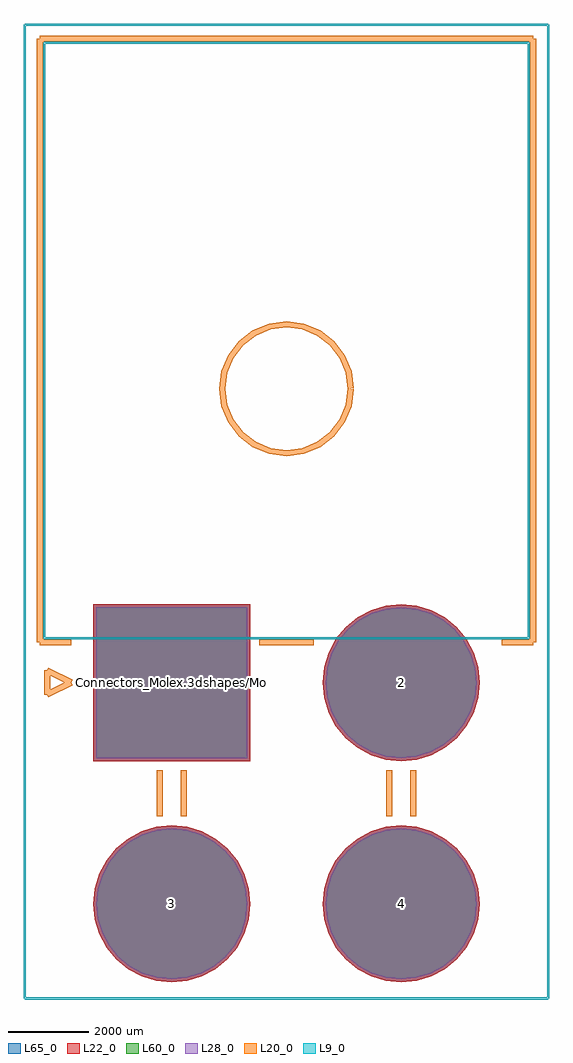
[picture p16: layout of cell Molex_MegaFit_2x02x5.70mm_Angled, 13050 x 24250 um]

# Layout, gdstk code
import gdstk
lib = gdstk.Library(unit=1e-6, precision=1e-09)
def R(c, l, rs):  # rectangles x0, y0, x1, y1
    for r in rs: c.add(gdstk.rectangle(r[:2], r[2:], *l))
def P(c, l, *ps):  # polygons
    for p in ps: c.add(gdstk.Polygon(p, *l))
L9_0 = (9, 0)
L20_0 = (20, 0)
L22_0 = (22, 0)
L28_0 = (28, 0)
L60_0 = (60, 0)
L65_0 = (65, 0)

molex_megafit_2x02x5_70m = lib.new_cell('Molex_MegaFit_2x02x5.70mm_Angled')
R(molex_megafit_2x02x5_70m, L22_0, [(-1950,-1950,1950,1950)])
P(molex_megafit_2x02x5_70m, L22_0, [(7650,-5500),(7612.531,-5119.574),(7501.565,-4753.767),(7321.366,-4416.638),(7078.858,-4121.142),(6783.362,-3878.634),(6446.233,-3698.435),(6080.426,-3587.469),(5700,-3550),(5319.574,-3587.469),(4953.767,-3698.435),(4616.638,-3878.634),(4321.142,-4121.142),(4078.634,-4416.638),(3898.435,-4753.767),(3787.469,-5119.574),(3750,-5500),(3787.469,-5880.426),(3898.435,-6246.233),(4078.634,-6583.362),(4321.142,-6878.858),(4616.638,-7121.366),(4953.767,-7301.565),(5319.574,-7412.531),(5700,-7450),(6080.426,-7412.531),(6446.233,-7301.565),(6783.362,-7121.366),(7078.858,-6878.858),(7321.366,-6583.362),(7501.565,-6246.233),(7612.531,-5880.426)],
  [(1950,-5500),(1912.531,-5119.574),(1801.565,-4753.767),(1621.366,-4416.638),(1378.858,-4121.142),(1083.362,-3878.634),(746.233,-3698.435),(380.426,-3587.469),(0,-3550),(-380.426,-3587.469),(-746.233,-3698.435),(-1083.362,-3878.634),(-1378.858,-4121.142),(-1621.366,-4416.638),(-1801.565,-4753.767),(-1912.531,-5119.574),(-1950,-5500),(-1912.531,-5880.426),(-1801.565,-6246.233),(-1621.366,-6583.362),(-1378.858,-6878.858),(-1083.362,-7121.366),(-746.233,-7301.565),(-380.426,-7412.531),(0,-7450),(380.426,-7412.531),(746.233,-7301.565),(1083.362,-7121.366),(1378.858,-6878.858),(1621.366,-6583.362),(1801.565,-6246.233),(1912.531,-5880.426)],
  [(7650,0),(7612.531,380.426),(7501.565,746.233),(7321.366,1083.362),(7078.858,1378.858),(6783.362,1621.366),(6446.233,1801.565),(6080.426,1912.531),(5700,1950),(5319.574,1912.531),(4953.767,1801.565),(4616.638,1621.366),(4321.142,1378.858),(4078.634,1083.362),(3898.435,746.233),(3787.469,380.426),(3750,0),(3787.469,-380.426),(3898.435,-746.233),(4078.634,-1083.362),(4321.142,-1378.858),(4616.638,-1621.366),(4953.767,-1801.565),(5319.574,-1912.531),(5700,-1950),(6080.426,-1912.531),(6446.233,-1801.565),(6783.362,-1621.366),(7078.858,-1378.858),(7321.366,-1083.362),(7501.565,-746.233),(7612.531,-380.426)])
R(molex_megafit_2x02x5_70m, L28_0, [(-1875,-1875,1875,1875)])
P(molex_megafit_2x02x5_70m, L28_0, [(7575,-5500),(7538.972,-5134.206),(7432.274,-4782.469),(7259.006,-4458.306),(7025.825,-4174.175),(6741.694,-3940.994),(6417.531,-3767.726),(6065.794,-3661.028),(5700,-3625),(5334.206,-3661.028),(4982.469,-3767.726),(4658.306,-3940.994),(4374.175,-4174.175),(4140.994,-4458.306),(3967.726,-4782.469),(3861.028,-5134.206),(3825,-5500),(3861.028,-5865.794),(3967.726,-6217.531),(4140.994,-6541.694),(4374.175,-6825.825),(4658.306,-7059.006),(4982.469,-7232.274),(5334.206,-7338.972),(5700,-7375),(6065.794,-7338.972),(6417.531,-7232.274),(6741.694,-7059.006),(7025.825,-6825.825),(7259.006,-6541.694),(7432.274,-6217.531),(7538.972,-5865.794)],
  [(1875,-5500),(1838.972,-5134.206),(1732.274,-4782.469),(1559.006,-4458.306),(1325.825,-4174.175),(1041.694,-3940.994),(717.531,-3767.726),(365.794,-3661.028),(0,-3625),(-365.794,-3661.028),(-717.531,-3767.726),(-1041.694,-3940.994),(-1325.825,-4174.175),(-1559.006,-4458.306),(-1732.274,-4782.469),(-1838.972,-5134.206),(-1875,-5500),(-1838.972,-5865.794),(-1732.274,-6217.531),(-1559.006,-6541.694),(-1325.825,-6825.825),(-1041.694,-7059.006),(-717.531,-7232.274),(-365.794,-7338.972),(0,-7375),(365.794,-7338.972),(717.531,-7232.274),(1041.694,-7059.006),(1325.825,-6825.825),(1559.006,-6541.694),(1732.274,-6217.531),(1838.972,-5865.794)],
  [(7575,0),(7538.972,365.794),(7432.274,717.531),(7259.006,1041.694),(7025.825,1325.825),(6741.694,1559.006),(6417.531,1732.274),(6065.794,1838.972),(5700,1875),(5334.206,1838.972),(4982.469,1732.274),(4658.306,1559.006),(4374.175,1325.825),(4140.994,1041.694),(3967.726,717.531),(3861.028,365.794),(3825,0),(3861.028,-365.794),(3967.726,-717.531),(4140.994,-1041.694),(4374.175,-1325.825),(4658.306,-1559.006),(4982.469,-1732.274),(5334.206,-1838.972),(5700,-1875),(6065.794,-1838.972),(6417.531,-1732.274),(6741.694,-1559.006),(7025.825,-1325.825),(7259.006,-1041.694),(7432.274,-717.531),(7538.972,-365.794)])
R(molex_megafit_2x02x5_70m, L60_0, [(-1875,-1875,1875,1875)])
P(molex_megafit_2x02x5_70m, L60_0, [(7575,-5500),(7538.972,-5134.206),(7432.274,-4782.469),(7259.006,-4458.306),(7025.825,-4174.175),(6741.694,-3940.994),(6417.531,-3767.726),(6065.794,-3661.028),(5700,-3625),(5334.206,-3661.028),(4982.469,-3767.726),(4658.306,-3940.994),(4374.175,-4174.175),(4140.994,-4458.306),(3967.726,-4782.469),(3861.028,-5134.206),(3825,-5500),(3861.028,-5865.794),(3967.726,-6217.531),(4140.994,-6541.694),(4374.175,-6825.825),(4658.306,-7059.006),(4982.469,-7232.274),(5334.206,-7338.972),(5700,-7375),(6065.794,-7338.972),(6417.531,-7232.274),(6741.694,-7059.006),(7025.825,-6825.825),(7259.006,-6541.694),(7432.274,-6217.531),(7538.972,-5865.794)],
  [(1875,-5500),(1838.972,-5134.206),(1732.274,-4782.469),(1559.006,-4458.306),(1325.825,-4174.175),(1041.694,-3940.994),(717.531,-3767.726),(365.794,-3661.028),(0,-3625),(-365.794,-3661.028),(-717.531,-3767.726),(-1041.694,-3940.994),(-1325.825,-4174.175),(-1559.006,-4458.306),(-1732.274,-4782.469),(-1838.972,-5134.206),(-1875,-5500),(-1838.972,-5865.794),(-1732.274,-6217.531),(-1559.006,-6541.694),(-1325.825,-6825.825),(-1041.694,-7059.006),(-717.531,-7232.274),(-365.794,-7338.972),(0,-7375),(365.794,-7338.972),(717.531,-7232.274),(1041.694,-7059.006),(1325.825,-6825.825),(1559.006,-6541.694),(1732.274,-6217.531),(1838.972,-5865.794)],
  [(7575,0),(7538.972,365.794),(7432.274,717.531),(7259.006,1041.694),(7025.825,1325.825),(6741.694,1559.006),(6417.531,1732.274),(6065.794,1838.972),(5700,1875),(5334.206,1838.972),(4982.469,1732.274),(4658.306,1559.006),(4374.175,1325.825),(4140.994,1041.694),(3967.726,717.531),(3861.028,365.794),(3825,0),(3861.028,-365.794),(3967.726,-717.531),(4140.994,-1041.694),(4374.175,-1325.825),(4658.306,-1559.006),(4982.469,-1732.274),(5334.206,-1838.972),(5700,-1875),(6065.794,-1838.972),(6417.531,-1732.274),(6741.694,-1559.006),(7025.825,-1325.825),(7259.006,-1041.694),(7432.274,-717.531),(7538.972,-365.794)])
R(molex_megafit_2x02x5_70m, L65_0, [(-1950,-1950,1950,1950)])
P(molex_megafit_2x02x5_70m, L65_0, [(7650,-5500),(7612.531,-5119.574),(7501.565,-4753.767),(7321.366,-4416.638),(7078.858,-4121.142),(6783.362,-3878.634),(6446.233,-3698.435),(6080.426,-3587.469),(5700,-3550),(5319.574,-3587.469),(4953.767,-3698.435),(4616.638,-3878.634),(4321.142,-4121.142),(4078.634,-4416.638),(3898.435,-4753.767),(3787.469,-5119.574),(3750,-5500),(3787.469,-5880.426),(3898.435,-6246.233),(4078.634,-6583.362),(4321.142,-6878.858),(4616.638,-7121.366),(4953.767,-7301.565),(5319.574,-7412.531),(5700,-7450),(6080.426,-7412.531),(6446.233,-7301.565),(6783.362,-7121.366),(7078.858,-6878.858),(7321.366,-6583.362),(7501.565,-6246.233),(7612.531,-5880.426)],
  [(1950,-5500),(1912.531,-5119.574),(1801.565,-4753.767),(1621.366,-4416.638),(1378.858,-4121.142),(1083.362,-3878.634),(746.233,-3698.435),(380.426,-3587.469),(0,-3550),(-380.426,-3587.469),(-746.233,-3698.435),(-1083.362,-3878.634),(-1378.858,-4121.142),(-1621.366,-4416.638),(-1801.565,-4753.767),(-1912.531,-5119.574),(-1950,-5500),(-1912.531,-5880.426),(-1801.565,-6246.233),(-1621.366,-6583.362),(-1378.858,-6878.858),(-1083.362,-7121.366),(-746.233,-7301.565),(-380.426,-7412.531),(0,-7450),(380.426,-7412.531),(746.233,-7301.565),(1083.362,-7121.366),(1378.858,-6878.858),(1621.366,-6583.362),(1801.565,-6246.233),(1912.531,-5880.426)],
  [(7650,0),(7612.531,380.426),(7501.565,746.233),(7321.366,1083.362),(7078.858,1378.858),(6783.362,1621.366),(6446.233,1801.565),(6080.426,1912.531),(5700,1950),(5319.574,1912.531),(4953.767,1801.565),(4616.638,1621.366),(4321.142,1378.858),(4078.634,1083.362),(3898.435,746.233),(3787.469,380.426),(3750,0),(3787.469,-380.426),(3898.435,-746.233),(4078.634,-1083.362),(4321.142,-1378.858),(4616.638,-1621.366),(4953.767,-1801.565),(5319.574,-1912.531),(5700,-1950),(6080.426,-1912.531),(6446.233,-1801.565),(6783.362,-1621.366),(7078.858,-1378.858),(7321.366,-1083.362),(7501.565,-746.233),(7612.531,-380.426)])
molex_megafit_2x02x5_70m.add(gdstk.FlexPath([(9350,16350),(-3650,16350)], 50, ends="flush", simple_path=True, layer=9, datatype=0))  # L9_0
molex_megafit_2x02x5_70m.add(gdstk.FlexPath([(9350,-7850),(9350,16350)], 50, ends="flush", simple_path=True, layer=9, datatype=0))  # L9_0
molex_megafit_2x02x5_70m.add(gdstk.FlexPath([(-3650,-7850),(9350,-7850)], 50, ends="flush", simple_path=True, layer=9, datatype=0))  # L9_0
molex_megafit_2x02x5_70m.add(gdstk.FlexPath([(-3650,16350),(-3650,-7850)], 50, ends="flush", simple_path=True, layer=9, datatype=0))  # L9_0
molex_megafit_2x02x5_70m.add(gdstk.FlexPath([(-3100,300),(-2500,0)], 149.998, ends="flush", simple_path=True, layer=20, datatype=0))  # L20_0
molex_megafit_2x02x5_70m.add(gdstk.FlexPath([(-3100,-300),(-3100,300)], 149.998, ends="flush", simple_path=True, layer=20, datatype=0))  # L20_0
molex_megafit_2x02x5_70m.add(gdstk.FlexPath([(-2500,0),(-3100,-300)], 149.998, ends="flush", simple_path=True, layer=20, datatype=0))  # L20_0
molex_megafit_2x02x5_70m.add(gdstk.FlexPath([(6000,-2175),(6000,-3325)], 149.998, ends="flush", simple_path=True, layer=20, datatype=0))  # L20_0
molex_megafit_2x02x5_70m.add(gdstk.FlexPath([(5400,-2175),(5400,-3325)], 149.998, ends="flush", simple_path=True, layer=20, datatype=0))  # L20_0
molex_megafit_2x02x5_70m.add(gdstk.FlexPath([(300,-2175),(300,-3325)], 149.998, ends="flush", simple_path=True, layer=20, datatype=0))  # L20_0
molex_megafit_2x02x5_70m.add(gdstk.FlexPath([(-300,-2175),(-300,-3325)], 149.998, ends="flush", simple_path=True, layer=20, datatype=0))  # L20_0
molex_megafit_2x02x5_70m.add(gdstk.FlexPath([(2175,1000),(3525,1000)], 149.998, ends="flush", simple_path=True, layer=20, datatype=0))  # L20_0
molex_megafit_2x02x5_70m.add(gdstk.FlexPath([(8975,1000),(8200,1000)], 149.998, ends="flush", simple_path=True, layer=20, datatype=0))  # L20_0
molex_megafit_2x02x5_70m.add(gdstk.FlexPath([(8975,16000),(8975,1000)], 149.998, ends="flush", simple_path=True, layer=20, datatype=0))  # L20_0
molex_megafit_2x02x5_70m.add(gdstk.FlexPath([(2850,16000),(8975,16000)], 149.998, ends="flush", simple_path=True, layer=20, datatype=0))  # L20_0
molex_megafit_2x02x5_70m.add(gdstk.FlexPath([(-3275,1000),(-2500,1000)], 149.998, ends="flush", simple_path=True, layer=20, datatype=0))  # L20_0
molex_megafit_2x02x5_70m.add(gdstk.FlexPath([(-3275,16000),(-3275,1000)], 149.998, ends="flush", simple_path=True, layer=20, datatype=0))  # L20_0
molex_megafit_2x02x5_70m.add(gdstk.FlexPath([(2850,16000),(-3275,16000)], 149.998, ends="flush", simple_path=True, layer=20, datatype=0))  # L20_0
molex_megafit_2x02x5_70m.add(gdstk.FlexPath([(8875,15900),(-3175,15900)], 50, ends="flush", simple_path=True, layer=9, datatype=0))  # L9_0
molex_megafit_2x02x5_70m.add(gdstk.FlexPath([(8875,1100),(8875,15900)], 50, ends="flush", simple_path=True, layer=9, datatype=0))  # L9_0
molex_megafit_2x02x5_70m.add(gdstk.FlexPath([(-3175,1100),(8875,1100)], 50, ends="flush", simple_path=True, layer=9, datatype=0))  # L9_0
molex_megafit_2x02x5_70m.add(gdstk.FlexPath([(-3175,15900),(-3175,1100)], 50, ends="flush", simple_path=True, layer=9, datatype=0))  # L9_0
molex_megafit_2x02x5_70m.add(gdstk.FlexPath([(4450,7300),(4395.481,7714.11),(4235.641,8100),(3981.371,8431.371),(3650,8685.641),(3264.11,8845.481),(2850,8900),(2435.89,8845.481),(2050,8685.641),(1718.629,8431.371),(1464.359,8100),(1304.519,7714.11),(1250,7300),(1304.519,6885.89),(1464.359,6500),(1718.629,6168.629),(2050,5914.359),(2435.89,5754.519),(2850,5700),(3264.11,5754.519),(3650,5914.359),(3981.371,6168.629),(4235.641,6500),(4395.481,6885.89),(4450,7300)], 149.998, ends="flush", simple_path=True, layer=20, datatype=0))  # L20_0
molex_megafit_2x02x5_70m.add(gdstk.Label('Connectors_Molex.3dshapes/Molex_MegaFit_2x02x5.70mm_Angled.wrl', (0,0), layer=12, texttype=0))
molex_megafit_2x02x5_70m.add(gdstk.Label('4', (5700,-5500), layer=28, texttype=0))
molex_megafit_2x02x5_70m.add(gdstk.Label('3', (0,-5500), layer=28, texttype=0))
molex_megafit_2x02x5_70m.add(gdstk.Label('2', (5700,0), layer=28, texttype=0))
molex_megafit_2x02x5_70m.add(gdstk.Label('1', (0,0), layer=28, texttype=0))
molex_megafit_2x02x5_70m.add(gdstk.Label('type', (2850,-10500), layer=9, texttype=0))
molex_megafit_2x02x5_70m.add(gdstk.Label('devicename', (2850,-9000), layer=9, texttype=0))

lib.write_gds('Molex_MegaFit_2x02x5.70mm_Angled.gds')
